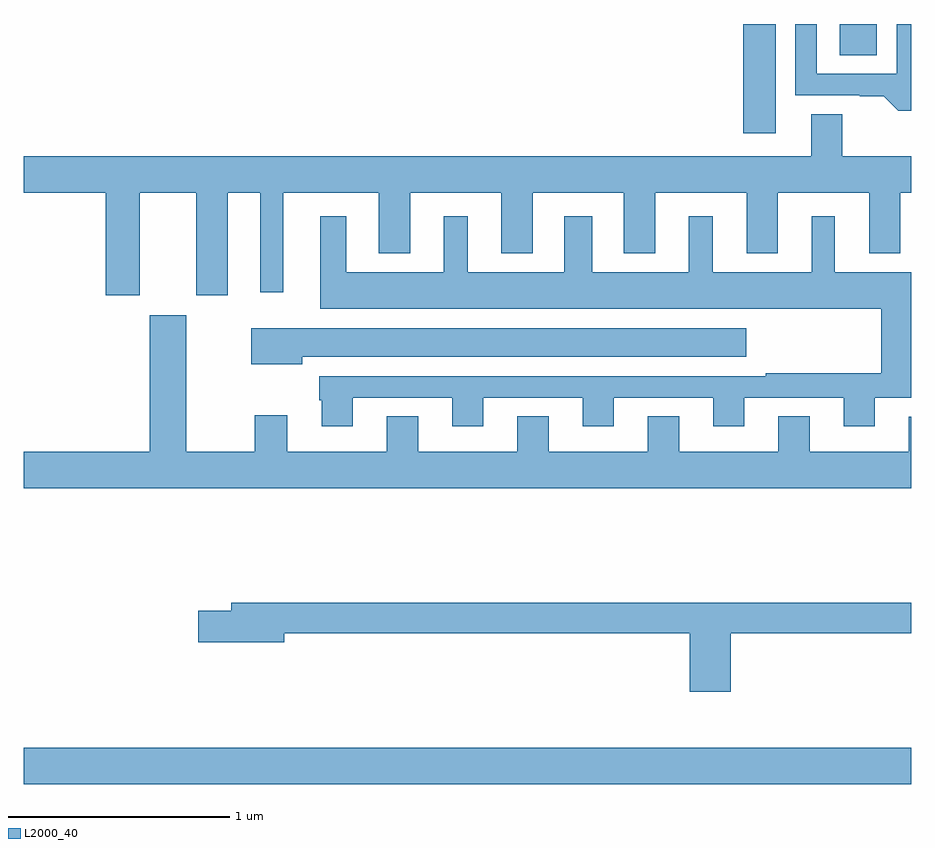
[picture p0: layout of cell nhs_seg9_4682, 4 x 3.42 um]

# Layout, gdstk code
import gdstk
lib = gdstk.Library(unit=1e-6, precision=1e-09)
def R(c, l, rs):  # rectangles x0, y0, x1, y1
    for r in rs: c.add(gdstk.rectangle(r[:2], r[2:], *l))
def P(c, l, *ps):  # polygons
    for p in ps: c.add(gdstk.Polygon(p, *l))
L2000_40 = (2000, 40)

nhs_seg9_4682 = lib.new_cell('nhs_seg9_4682')
R(nhs_seg9_4682, L2000_40, [(381,1207.076,385,1207.24), (384.242,1210.008,384.388,1210.5), (384.677,1210.36,384.844,1210.5)])
P(nhs_seg9_4682, L2000_40, [(385,1210.5),(384.933,1210.5),(384.933,1210.275),(384.573,1210.275),(384.573,1210.5),(384.477,1210.5),(384.477,1210.179),(384.767,1210.179),(384.767,1210.174),(384.875,1210.174),(384.941,1210.109),(385,1210.109)],
  [(381.523,1209.74),(381.779,1209.74),(381.779,1209.279),(381.919,1209.279),(381.919,1209.74),(382.067,1209.74),(382.067,1209.291),(382.171,1209.291),(382.171,1209.74),(382.601,1209.74),(382.601,1209.467),(382.741,1209.467),(382.741,1209.74),(383.153,1209.74),(383.153,1209.467),(383.293,1209.467),(383.293,1209.74),(383.705,1209.74),(383.705,1209.467),(383.845,1209.467),(383.845,1209.74),(384.257,1209.74),(384.257,1209.467),(384.397,1209.467),(384.397,1209.74),(384.809,1209.74),(384.809,1209.467),(384.949,1209.467),(384.949,1209.74),(385,1209.74),(385,1209.904),(384.688,1209.904),(384.688,1210.094),(384.548,1210.094),(384.548,1209.904),(381,1209.904),(381,1209.74),(381.371,1209.74),(381.371,1209.279),(381.523,1209.279)],
  [(382.483,1208.817),(382.931,1208.817),(382.931,1208.688),(383.071,1208.688),(383.071,1208.817),(383.519,1208.817),(383.519,1208.688),(383.659,1208.688),(383.659,1208.817),(384.107,1208.817),(384.107,1208.688),(384.247,1208.688),(384.247,1208.817),(384.695,1208.817),(384.695,1208.688),(384.835,1208.688),(384.835,1208.816),(385,1208.816),(385,1209.382),(384.655,1209.382),(384.655,1209.634),(384.551,1209.634),(384.551,1209.382),(384.106,1209.382),(384.106,1209.634),(383.996,1209.634),(383.996,1209.382),(383.563,1209.382),(383.563,1209.634),(383.435,1209.634),(383.435,1209.382),(383.002,1209.382),(383.002,1209.634),(382.892,1209.634),(382.892,1209.382),(382.453,1209.382),(382.453,1209.634),(382.337,1209.634),(382.337,1209.218),(384.863,1209.218),(384.863,1208.926),(384.343,1208.926),(384.343,1208.913),(382.331,1208.913),(382.331,1208.805),(382.343,1208.805),(382.343,1208.688),(382.483,1208.688)],
  [(385,1208.731),(384.989,1208.731),(384.989,1208.572),(384.541,1208.572),(384.541,1208.732),(384.401,1208.732),(384.401,1208.572),(383.953,1208.572),(383.953,1208.732),(383.813,1208.732),(383.813,1208.572),(383.365,1208.572),(383.365,1208.732),(383.225,1208.732),(383.225,1208.572),(382.777,1208.572),(382.777,1208.732),(382.637,1208.732),(382.637,1208.572),(382.189,1208.572),(382.189,1208.737),(382.042,1208.737),(382.042,1208.572),(381.733,1208.572),(381.733,1209.187),(381.569,1209.187),(381.569,1208.572),(381,1208.572),(381,1208.408),(385,1208.408)],
  [(382.255,1209.002),(384.256,1209.002),(384.256,1209.13),(382.026,1209.13),(382.026,1208.966),(382.255,1208.966)],
  [(384.185,1207.756),(385,1207.756),(385,1207.892),(381.935,1207.892),(381.935,1207.856),(381.786,1207.856),(381.786,1207.714),(382.174,1207.714),(382.174,1207.756),(384.002,1207.756),(384.002,1207.491),(384.185,1207.491)])

lib.write_gds('nhs_seg9_4682.gds')
